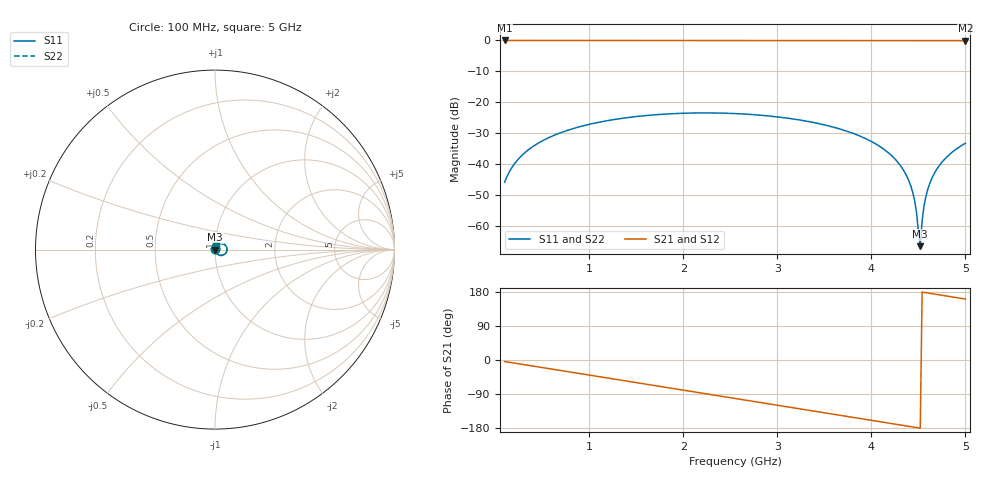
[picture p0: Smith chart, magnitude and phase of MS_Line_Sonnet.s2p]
! Sonnet Data File
! From: em Version : 18.53-Lite
! From Project: MS_Line
! Data is De-embedded
! Data File Written: 07/03/2025 19:22:53
!< HDATE 07/03/2025 19:22:48
!< MDATE 07/03/2025 19:22:48
!< PARAMS
!< L1 = 20.0
!< W1 = 1.1
!< END PARAMS
# GHZ S MA R 50.00000
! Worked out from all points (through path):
!   246 points, 100 MHz to 5 GHz, reference 50 ohm
!   highest |S21| = 0.00 dB at 100 MHz (marker M1); lowest = -0.1 dB at 5 GHz (marker M2)
!   group delay of S21, straight-line fit = 111 ps
!   lowest |S11| = -66.7 dB at 4.52 GHz (marker M3), VSWR 1.00, Z = 50 + j0.0214 ohm
!   |S11| at or under -10 dB: start of sweep to end of sweep
!   |S22| runs from -66.7 to -23.5 dB; largest |S21 - S12| = 2.7e-13
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0.1  0.005009 82.9  0.9996 -4.0  0.9996 -4.0  0.005009 82.9
0.22  0.01072 79.4  0.9992 -8.8  0.9992 -8.8  0.01071 79.4
0.38  0.01813 73.7  0.9988 -15.2  0.9988 -15.2  0.01813 73.7
0.62  0.02872 64.6  0.9982 -24.7  0.9982 -24.7  0.02873 64.6
0.92  0.04074 52.9  0.9973 -36.7  0.9973 -36.7  0.04074 52.9
1.74  0.06301 20.8  0.9951 -69.2  0.9951 -69.2  0.06301 20.8
2.16  0.06681 4.3  0.9943 -85.9  0.9943 -85.9  0.06681 4.3
2.56  0.06517 -11.5  0.9939 -101.8  0.9939 -101.8  0.06517 -11.5
3.38  0.04692 -43.7  0.9939 -134.4  0.9939 -134.4  0.04691 -43.7
3.86  0.02894 -62.5  0.9941 -153.6  0.9941 -153.6  0.02894 -62.5
4.2  0.01426 -75.1  0.994 -167.1  0.994 -167.1  0.01426 -75.1
4.34  0.007971 -79.4  0.9939 -172.7  0.9939 -172.7  0.007971 -79.4
4.42  0.004352 -80.1  0.9938 -175.9  0.9938 -175.9  0.004353 -80.1
4.46  0.002549 -77.8  0.9938 -177.5  0.9938 -177.5  0.002549 -77.8
4.48  0.001659 -73.6  0.9938 -178.3  0.9938 -178.3  0.001659 -73.6
4.52  0.0004626 27.6  0.9937 -179.9  0.9937 -179.9  0.0004627 27.6
4.54  0.001192 69.5  0.9937 179.3  0.9937 179.3  0.001192 69.5
4.56  0.002068 77.4  0.9937 178.5  0.9937 178.5  0.002068 77.4
4.6  0.003862 81.2  0.9936 176.9  0.9936 176.9  0.003862 81.2
4.64  0.005664 81.5  0.9936 175.3  0.9936 175.3  0.005663 81.5
4.78  0.01193 78.1  0.9934 169.7  0.9934 169.7  0.01193 78.2
5  0.02151 70.3  0.993 160.9  0.993 160.9  0.02151 70.3
